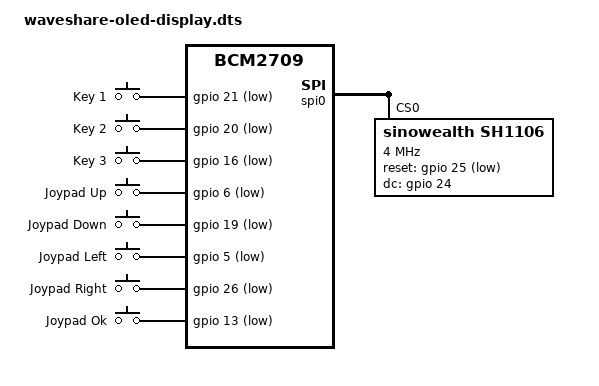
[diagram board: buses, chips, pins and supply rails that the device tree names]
/*
    Waveshare mini OLED display and button board DTB definition- this is a bit of an
    aggregation of the kernel sh1106 DTBO and the button panel they define in their wiki.
*/

#include <dt-bindings/gpio/gpio.h>
#include <dt-bindings/input/input.h>

/dts-v1/;
/plugin/;

/ {

	compatible = "brcm,bcm2835", "brcm,bcm2708", "brcm,bcm2709";

    /* Button panels overlay - We have a set of three and a joypad with a center click */
    fragment@0 {
        target-path = "/";
        __overlay__ {
            gpiokeys {
                compatible = "gpio-keys";

                /* Handle the buttons on the side... */
                key_1 {
                    label = "Key 1";
                    gpios = <&gpio 21 GPIO_ACTIVE_LOW>;
                    linux,code = <KEY_1>;
                    debounce-interval = <60>;
                };

                key_2 {
                    label = "Key 2";
                    gpios = <&gpio 20 GPIO_ACTIVE_LOW>;
                    linux,code = <KEY_2>;
                    debounce-interval = <60>;
                };

                key_3 {
                    label = "Key 3";
                    gpios = <&gpio 16 GPIO_ACTIVE_LOW>;
                    linux,code = <KEY_3>;
                    debounce-interval = <60>;
                };

                /* Handle the joypad... */
                joypad_up {
                    label = "Joypad Up";
                    gpios = <&gpio 6 GPIO_ACTIVE_LOW>;
                    linux,code = <KEY_UP>;
                    debounce-interval = <60>;
                };

                joypad_down {
                    label = "Joypad Down";
                    gpios = <&gpio 19 GPIO_ACTIVE_LOW>;
                    linux,code = <KEY_DOWN>;
                    debounce-interval = <60>;
                };

                joypad_left {
                    label = "Joypad Left";
                    gpios = <&gpio 5 GPIO_ACTIVE_LOW>;
                    linux,code = <KEY_LEFT>;
                    debounce-interval = <60>;
                };

                joypad_right {
                    label = "Joypad Right";
                    gpios = <&gpio 26 GPIO_ACTIVE_LOW>;
                    linux,code = <KEY_RIGHT>;
                    debounce-interval = <60>;
                };

                joypad_ok {
                    label = "Joypad Ok";
                    gpios = <&gpio 13 GPIO_ACTIVE_LOW>;
                    linux,code = <KEY_OK>;
                    debounce-interval = <60>;
                };
            };
        };
    };

    /* Handle adding the control pins for the display panel*/
    fragment@1 {
        target= <&gpio>;
        __overlay__ {
            sh1106_pins: sh1106_pins {
                brcm,pins = <25 24>;
                brcm,function = <1 1>; /* out */
            };
        };
    };

    /* Define and enable the star of the show...our OLED display */
    fragment@2 {
        target = <&spi0>;
        __overlay__ {
            /* needed to avoid dtc warning */
            #address-cells = <1>;
            #size-cells = <0>;

            /* Make sure it's turned on */
            status = "okay";

            /* Cripple out the raw dev accesses...*/
            spidev@0{
                status = "disabled";
            };

            spidev@1{
                status = "disabled";
            };

            /* Define the OLED display controller */
            sh1106: sh1106@0{
                compatible = "sinowealth,sh1106";
                reg = <0>;
                pinctrl-names = "default";
                pinctrl-0 = <&sh1106_pins>;

                spi-max-frequency = <4000000>;
                bgr = <0>;
                bpp = <1>;
                rotate = <0>;
                fps = <25>;
                buswidth = <8>;
                reset-gpios = <&gpio 25 1>;
                dc-gpios = <&gpio 24 0>;
                debug = <0>;

                sinowealth,height = <64>;
                sinowealth,width = <128>;
                sinowealth,page-offset = <0>;
            };
        };
    };

    __overrides__ {
        speed     = <&sh1106>,"spi-max-frequency:0";
        rotate    = <&sh1106>,"rotate:0";
        fps       = <&sh1106>,"fps:0";
        debug     = <&sh1106>,"debug:0";
        dc_pin    = <&sh1106>,"dc-gpios:4",
                    <&sh1106_pins>,"brcm,pins:4";
        reset_pin = <&sh1106>,"reset-gpios:4",
                    <&sh1106_pins>,"brcm,pins:0";
        height    = <&sh1106>,"sinowealth,height:0";
    };
};

